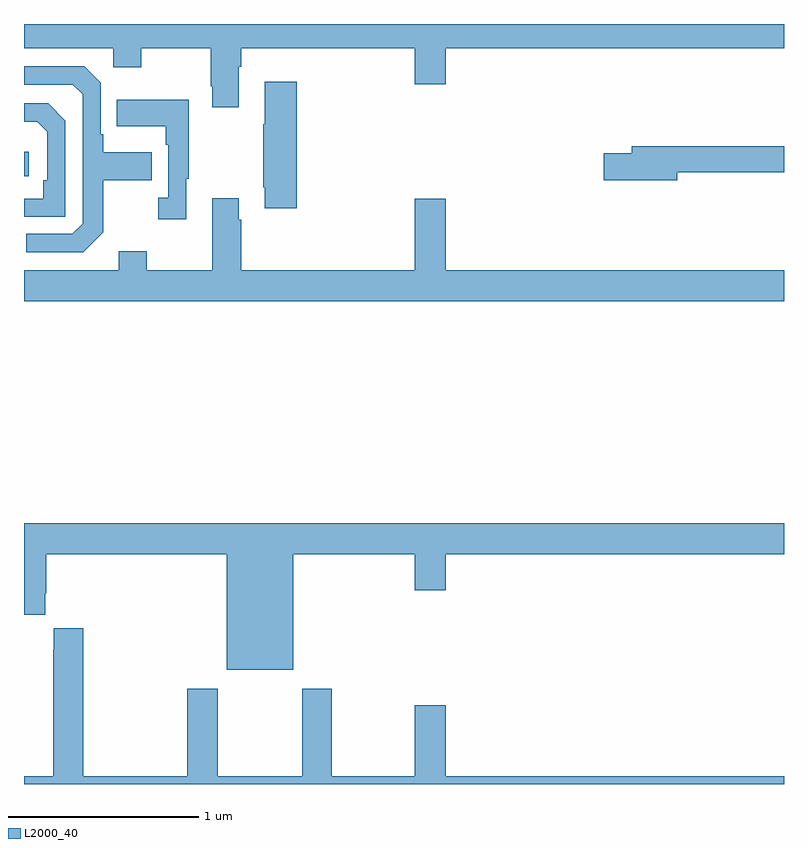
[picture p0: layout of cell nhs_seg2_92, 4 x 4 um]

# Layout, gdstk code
import gdstk
lib = gdstk.Library(unit=1e-6, precision=1e-09)
def R(c, l, rs):  # rectangles x0, y0, x1, y1
    for r in rs: c.add(gdstk.rectangle(r[:2], r[2:], *l))
def P(c, l, *ps):  # polygons
    for p in ps: c.add(gdstk.Polygon(p, *l))
L2000_40 = (2000, 40)

nhs_seg2_92 = lib.new_cell('nhs_seg2_92')
R(nhs_seg2_92, L2000_40, [(115,610.998,115.024,611.128)])
P(nhs_seg2_92, L2000_40, [(116.131,611.576),(116.144,611.576),(116.144,611.672),(117.056,611.672),(117.056,611.484),(117.22,611.484),(117.22,611.672),(119,611.672),(119,611.8),(115,611.8),(115,611.672),(115.47,611.672),(115.47,611.573),(115.617,611.573),(115.617,611.672),(115.984,611.672),(115.984,611.473),(115.991,611.473),(115.991,611.361),(116.131,611.361)],
  [(115.417,610.705),(115.417,610.978),(115.673,610.978),(115.673,611.125),(115.417,611.125),(115.417,611.221),(115.404,611.221),(115.404,611.49),(115.317,611.577),(115,611.577),(115,611.481),(115.257,611.481),(115.308,611.43),(115.308,610.749),(115.254,610.695),(115.011,610.695),(115.011,610.599),(115.311,610.599)],
  [(116.435,611.497),(116.267,611.497),(116.267,611.273),(116.26,611.273),(116.26,610.942),(116.267,610.942),(116.267,610.83),(116.435,610.83)],
  [(115.855,610.985),(115.867,610.985),(115.867,611.401),(115.489,611.401),(115.489,611.261),(115.746,611.261),(115.746,611.165),(115.758,611.165),(115.758,610.886),(115.707,610.886),(115.707,610.773),(115.855,610.773)],
  [(115.218,611.292),(115.128,611.382),(115,611.382),(115,611.285),(115.069,611.285),(115.122,611.232),(115.122,610.978),(115.102,610.978),(115.102,610.881),(115,610.881),(115,610.785),(115.218,610.785)],
  [(118.438,611.02),(119,611.02),(119,611.156),(118.199,611.156),(118.199,611.12),(118.05,611.12),(118.05,610.978),(118.438,610.978)],
  [(119,610.504),(117.22,610.504),(117.22,610.879),(117.056,610.879),(117.056,610.504),(116.144,610.504),(116.144,610.769),(116.131,610.769),(116.131,610.882),(115.991,610.882),(115.991,610.504),(115.647,610.504),(115.647,610.603),(115.499,610.603),(115.499,610.504),(115,610.504),(115,610.34),(119,610.34)],
  [(116.416,609.008),(117.056,609.008),(117.056,608.82),(117.22,608.82),(117.22,609.008),(119,609.008),(119,609.172),(115,609.172),(115,608.691),(115.111,608.691),(115.111,608.803),(115.118,608.803),(115.118,609.008),(116.066,609.008),(116.066,608.402),(116.416,608.402)],
  [(119,607.84),(117.22,607.84),(117.22,608.215),(117.056,608.215),(117.056,607.84),(116.619,607.84),(116.619,608.302),(116.464,608.302),(116.464,607.84),(116.019,607.84),(116.019,608.302),(115.859,608.302),(115.859,607.84),(115.313,607.84),(115.313,608.62),(115.157,608.62),(115.157,608.507),(115.153,608.507),(115.153,607.84),(115,607.84),(115,607.8),(119,607.8)])

lib.write_gds('nhs_seg2_92.gds')
